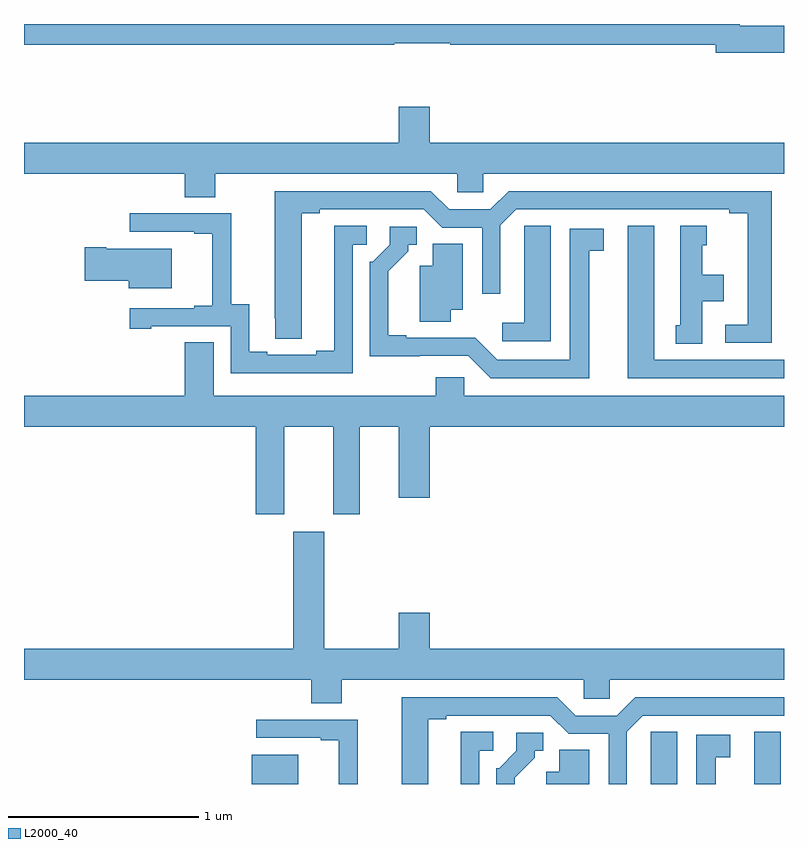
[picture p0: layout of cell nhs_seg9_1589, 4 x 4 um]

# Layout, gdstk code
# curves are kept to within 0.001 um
import gdstk
lib = gdstk.Library(unit=1e-6, precision=1e-09)
def R(c, l, rs):  # rectangles x0, y0, x1, y1
    for r in rs: c.add(gdstk.rectangle(r[:2], r[2:], *l))
def P(c, l, *ps):  # polygons
    for p in ps: c.add(gdstk.Polygon(p, *l))
L2000_40 = (2000, 40)

nhs_seg9_1589 = lib.new_cell('nhs_seg9_1589')
R(nhs_seg9_1589, L2000_40, [(200.198,1234.5,200.443,1234.654), (202.844,1234.5,202.984,1234.774)])
P(nhs_seg9_1589, L2000_40, [(203,1238.492),(202.768,1238.492),(202.768,1238.5),(199,1238.5),(199,1238.392),(200.948,1238.392),(200.948,1238.4),(201.244,1238.4),(201.244,1238.392),(202.64,1238.392),(202.64,1238.35),(203,1238.35)],
  [(200.007,1237.712),(201.279,1237.712),(201.279,1237.614),(201.417,1237.614),(201.417,1237.712),(203,1237.712),(203,1237.876),(201.136,1237.876),(201.136,1238.065),(200.972,1238.065),(200.972,1237.876),(199,1237.876),(199,1237.712),(199.847,1237.712),(199.847,1237.588),(200.007,1237.588)],
  [(202.936,1237.62),(201.551,1237.62),(201.455,1237.524),(201.237,1237.524),(201.141,1237.62),(200.321,1237.62),(200.322,1236.844),(200.461,1236.844),(200.461,1237.504),(200.557,1237.504),(200.557,1237.524),(201.105,1237.524),(201.201,1237.428),(201.411,1237.428),(201.411,1237.08),(201.507,1237.08),(201.507,1237.44),(201.591,1237.524),(202.712,1237.524),(202.712,1237.504),(202.808,1237.504),(202.808,1236.918),(202.692,1236.918),(202.692,1236.822),(202.936,1236.822)],
  [(200.73,1237.338),(200.803,1237.338),(200.803,1237.439),(200.633,1237.439),(200.633,1236.779),(200.537,1236.779),(200.537,1236.759),(200.281,1236.759),(200.281,1236.774),(200.185,1236.774),(200.185,1237.025),(200.091,1237.025),(200.091,1237.503),(199.557,1237.503),(199.557,1237.407),(199.895,1237.407),(199.895,1237.395),(199.991,1237.395),(199.991,1237.018),(199.895,1237.018),(199.895,1237.005),(199.557,1237.005),(199.557,1236.897),(199.669,1236.897),(199.669,1236.909),(200.088,1236.909),(200.088,1236.663),(200.73,1236.663)],
  [(201.772,1237.439),(201.633,1237.439),(201.633,1237.331),(201.632,1237.331),(201.632,1236.928),(201.516,1236.928),(201.516,1236.831),(201.772,1236.831)],
  [(203,1236.732),(202.318,1236.732),(202.318,1237.438),(202.178,1237.438),(202.178,1236.636),(203,1236.636)],
  [(202.57,1237.04),(202.684,1237.04),(202.684,1237.18),(202.57,1237.18),(202.57,1237.335),(202.594,1237.335),(202.594,1237.438),(202.454,1237.438),(202.454,1236.915),(202.43,1236.915),(202.43,1236.817),(202.57,1236.817)],
  [(201.976,1237.306),(202.051,1237.306),(202.051,1237.422),(201.872,1237.422),(201.872,1236.732),(201.492,1236.732),(201.374,1236.85),(201.013,1236.849),(201.013,1236.862),(200.917,1236.862),(200.917,1237.198),(201.022,1237.303),(201.022,1237.338),(201.067,1237.338),(201.067,1237.434),(200.925,1237.434),(200.925,1237.338),(200.835,1237.248),(200.82,1237.248),(200.82,1236.752),(201.339,1236.753),(201.456,1236.636),(201.976,1236.636)],
  [(201.247,1236.995),(201.31,1236.995),(201.31,1237.343),(201.152,1237.343),(201.152,1237.228),(201.083,1237.228),(201.083,1236.934),(201.247,1236.934)],
  [(199.777,1237.318),(199.432,1237.318),(199.432,1237.326),(199.32,1237.326),(199.32,1237.148),(199.55,1237.148),(199.55,1237.109),(199.777,1237.109)],
  [(200.371,1236.38),(200.627,1236.38),(200.627,1235.919),(200.767,1235.919),(200.767,1236.38),(200.972,1236.38),(200.972,1236.006),(201.136,1236.006),(201.136,1236.38),(203,1236.38),(203,1236.544),(201.318,1236.544),(201.318,1236.642),(201.167,1236.642),(201.167,1236.544),(199.999,1236.544),(199.999,1236.824),(199.847,1236.824),(199.847,1236.544),(199,1236.544),(199,1236.38),(200.219,1236.38),(200.219,1235.919),(200.371,1235.919)],
  [(200.673,1235.048),(201.945,1235.048),(201.945,1234.95),(202.083,1234.95),(202.083,1235.048),(203,1235.048),(203,1235.212),(201.136,1235.212),(201.136,1235.401),(200.972,1235.401),(200.972,1235.212),(200.581,1235.212),(200.581,1235.827),(200.417,1235.827),(200.417,1235.212),(199,1235.212),(199,1235.048),(200.513,1235.048),(200.513,1234.924),(200.673,1234.924)],
  [(201.127,1234.84),(201.223,1234.84),(201.223,1234.86),(201.771,1234.86),(201.867,1234.764),(202.077,1234.764),(202.077,1234.5),(202.173,1234.5),(202.173,1234.776),(202.257,1234.86),(203,1234.86),(203,1234.956),(202.217,1234.956),(202.121,1234.86),(201.903,1234.86),(201.807,1234.956),(200.987,1234.956),(200.987,1234.5),(201.127,1234.5)],
  [(200.757,1234.839),(200.223,1234.839),(200.223,1234.743),(200.561,1234.743),(200.561,1234.731),(200.657,1234.731),(200.657,1234.5),(200.757,1234.5)],
  [(201.396,1234.674),(201.469,1234.674),(201.469,1234.775),(201.299,1234.775),(201.299,1234.5),(201.396,1234.5)],
  [(202.438,1234.775),(202.299,1234.775),(202.299,1234.667),(202.298,1234.667),(202.298,1234.5),(202.438,1234.5)],
  [(201.583,1234.534),(201.688,1234.639),(201.688,1234.674),(201.733,1234.674),(201.733,1234.77),(201.591,1234.77),(201.591,1234.674),(201.501,1234.584),(201.486,1234.584),(201.486,1234.5),(201.583,1234.5)],
  [(202.642,1234.642),(202.717,1234.642),(202.717,1234.758),(202.538,1234.758),(202.538,1234.5),(202.642,1234.5)],
  [(201.976,1234.679),(201.818,1234.679),(201.818,1234.564),(201.749,1234.564),(201.749,1234.5),(201.976,1234.5)])

lib.write_gds('nhs_seg9_1589.gds')
